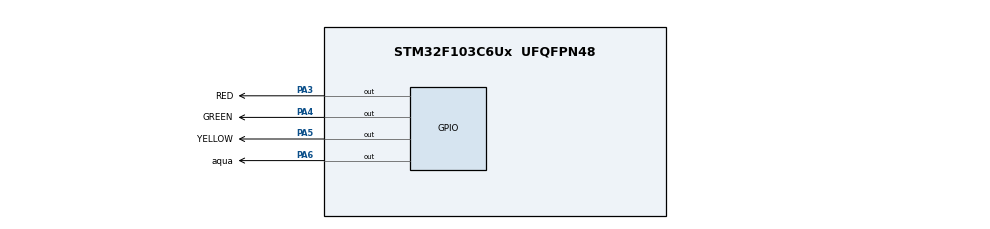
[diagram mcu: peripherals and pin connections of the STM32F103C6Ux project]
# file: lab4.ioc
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Mcu.Family=STM32F1
Mcu.Name=STM32F103C6Ux
Mcu.Package=UFQFPN48
NVIC.PriorityGroup=NVIC_PRIORITYGROUP_4
NVIC.TIM2_IRQn=true\:15\:0\:false\:false\:true\:true\:true\:true
PA13.Mode=Serial_Wire
PA13.Signal=SYS_JTMS-SWDIO
PA14.Mode=Serial_Wire
PA14.Signal=SYS_JTCK-SWCLK
PA3.GPIO_Label=RED
PA3.Signal=GPIO_Output
PA4.GPIO_Label=GREEN
PA4.Signal=GPIO_Output
PA5.GPIO_Label=YELLOW
PA5.Signal=GPIO_Output
PA6.GPIO_Label=aqua
PA6.Signal=GPIO_Output
ProjectManager.HeapSize=0x200
ProjectManager.StackSize=0x400
ProjectManager.TargetToolchain=STM32CubeIDE
RCC.APB1Freq_Value=8000000
RCC.APB2Freq_Value=8000000
TIM2.Period=9
TIM2.Prescaler=7999
VP_TIM2_VS_ClockSourceINT.Mode=Internal
board=custom

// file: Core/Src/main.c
/* USER CODE BEGIN Header */
/**
  ******************************************************************************
  * @file           : main.c
  * @brief          : Main program body
  ******************************************************************************
  * @attention
  *
  * Copyright (c) 2023 STMicroelectronics.
  * All rights reserved.
  *
  * This software is licensed under terms that can be found in the LICENSE file
  * in the root directory of this software component.
  * If no LICENSE file comes with this software, it is provided AS-IS.
  *
  ******************************************************************************
  */
/* USER CODE END Header */
#include "main.h"

/* USER CODE BEGIN Includes */
#include "scheduler.h"
/* USER CODE END Includes */

TIM_HandleTypeDef htim2;

void SystemClock_Config(void);
static void MX_GPIO_Init(void);
static void MX_TIM2_Init(void);

/* USER CODE BEGIN 0 */
void led_red() {
	HAL_GPIO_TogglePin(RED_GPIO_Port, RED_Pin);
}

void led_green() {
	HAL_GPIO_TogglePin(GREEN_GPIO_Port, GREEN_Pin);
}

void led_yellow() {
	HAL_GPIO_TogglePin(YELLOW_GPIO_Port, YELLOW_Pin);
}
void led_aqua() {
	HAL_GPIO_WritePin(aqua_GPIO_Port, aqua_Pin, SET);
}
/* USER CODE END 0 */

int main(void)
{

  /* MCU Configuration--------------------------------------------------------*/

  /* Reset of all peripherals, Initializes the Flash interface and the Systick. */
  HAL_Init();

  /* Configure the system clock */
  SystemClock_Config();

  /* Initialize all configured peripherals */
  MX_GPIO_Init();
  MX_TIM2_Init();
  /* USER CODE BEGIN 2 */
  HAL_TIM_Base_Start_IT (&htim2);
  /* USER CODE END 2 */

  /* Infinite loop */
  /* USER CODE BEGIN WHILE */
  SCH_Add_Task(led_red, 100, 200);
  SCH_Add_Task(led_green, 300, 150);
  SCH_Add_Task(led_aqua, 200, 0);
  SCH_Add_Task(led_yellow, 100, 200);
  while (1)
  {
	  SCH_Dispatch_Tasks();
    /* USER CODE END WHILE */

  }
}

void SystemClock_Config(void)
{
  RCC_OscInitTypeDef RCC_OscInitStruct = {0};
  RCC_ClkInitTypeDef RCC_ClkInitStruct = {0};

  /** Initializes the RCC Oscillators according to the specified parameters
  * in the RCC_OscInitTypeDef structure.
  */
  RCC_OscInitStruct.OscillatorType = RCC_OSCILLATORTYPE_HSI;
  RCC_OscInitStruct.HSIState = RCC_HSI_ON;
  RCC_OscInitStruct.HSICalibrationValue = RCC_HSICALIBRATION_DEFAULT;
  RCC_OscInitStruct.PLL.PLLState = RCC_PLL_NONE;
  if (HAL_RCC_OscConfig(&RCC_OscInitStruct) != HAL_OK)
  {
    Error_Handler();
  }

  /** Initializes the CPU, AHB and APB buses clocks
  */
  RCC_ClkInitStruct.ClockType = RCC_CLOCKTYPE_HCLK|RCC_CLOCKTYPE_SYSCLK
                              |RCC_CLOCKTYPE_PCLK1|RCC_CLOCKTYPE_PCLK2;
  RCC_ClkInitStruct.SYSCLKSource = RCC_SYSCLKSOURCE_HSI;
  RCC_ClkInitStruct.AHBCLKDivider = RCC_SYSCLK_DIV1;
  RCC_ClkInitStruct.APB1CLKDivider = RCC_HCLK_DIV1;
  RCC_ClkInitStruct.APB2CLKDivider = RCC_HCLK_DIV1;

  if (HAL_RCC_ClockConfig(&RCC_ClkInitStruct, FLASH_LATENCY_0) != HAL_OK)
  {
    Error_Handler();
  }
}

static void MX_TIM2_Init(void)
{

  TIM_ClockConfigTypeDef sClockSourceConfig = {0};
  TIM_MasterConfigTypeDef sMasterConfig = {0};

  htim2.Instance = TIM2;
  htim2.Init.Prescaler = 7999;
  htim2.Init.CounterMode = TIM_COUNTERMODE_UP;
  htim2.Init.Period = 9;
  htim2.Init.ClockDivision = TIM_CLOCKDIVISION_DIV1;
  htim2.Init.AutoReloadPreload = TIM_AUTORELOAD_PRELOAD_DISABLE;
  if (HAL_TIM_Base_Init(&htim2) != HAL_OK)
  {
    Error_Handler();
  }
  sClockSourceConfig.ClockSource = TIM_CLOCKSOURCE_INTERNAL;
  if (HAL_TIM_ConfigClockSource(&htim2, &sClockSourceConfig) != HAL_OK)
  {
    Error_Handler();
  }
  sMasterConfig.MasterOutputTrigger = TIM_TRGO_RESET;
  sMasterConfig.MasterSlaveMode = TIM_MASTERSLAVEMODE_DISABLE;
  if (HAL_TIMEx_MasterConfigSynchronization(&htim2, &sMasterConfig) != HAL_OK)
  {
    Error_Handler();
  }

}

static void MX_GPIO_Init(void)
{
  GPIO_InitTypeDef GPIO_InitStruct = {0};

  /* GPIO Ports Clock Enable */
  __HAL_RCC_GPIOA_CLK_ENABLE();

  /*Configure GPIO pin Output Level */
  HAL_GPIO_WritePin(GPIOA, RED_Pin|GREEN_Pin|YELLOW_Pin|aqua_Pin, GPIO_PIN_RESET);

  /*Configure GPIO pins : RED_Pin GREEN_Pin YELLOW_Pin aqua_Pin */
  GPIO_InitStruct.Pin = RED_Pin|GREEN_Pin|YELLOW_Pin|aqua_Pin;
  GPIO_InitStruct.Mode = GPIO_MODE_OUTPUT_PP;
  GPIO_InitStruct.Pull = GPIO_NOPULL;
  GPIO_InitStruct.Speed = GPIO_SPEED_FREQ_LOW;
  HAL_GPIO_Init(GPIOA, &GPIO_InitStruct);

}

/* USER CODE BEGIN 4 */
void HAL_TIM_PeriodElapsedCallback ( TIM_HandleTypeDef * htim ) {
	SCH_Update();
}

/* USER CODE END 4 */

void Error_Handler(void)
{
  __disable_irq();
  while (1)
  {
  }
}
